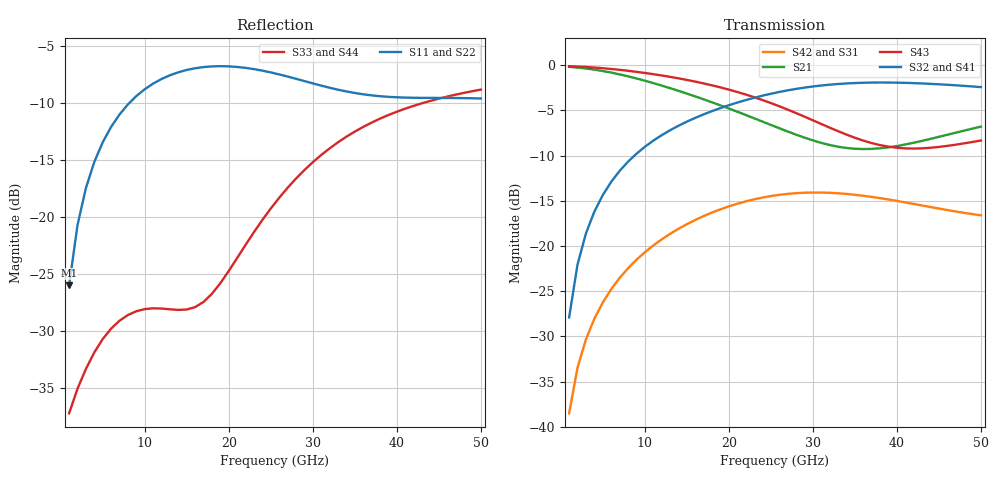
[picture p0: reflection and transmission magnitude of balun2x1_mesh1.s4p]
! Created with skrf 2.2.0 (http://scikit-rf.org).
# GHz S DB R 50.0
! Port[1] = P1
! Port[2] = P2
! Port[3] = P3
! Port[4] = P4
!freq dBS11 angS11 dBS12 angS12 dBS13 angS13
! dBS14 angS14
! dBS21 angS21 dBS22 angS22 dBS23 angS23
! dBS24 angS24
! dBS31 angS31 dBS32 angS32 dBS33 angS33
! dBS34 angS34
! dBS41 angS41 dBS42 angS42 dBS43 angS43
! dBS44 angS44
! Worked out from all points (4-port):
!   50 points, 1 GHz to 50 GHz, reference 50 ohm
!   strongest paths, dB at 1 GHz, 13 GHz, 26 GHz, 38 GHz, 50 GHz:
!     S32: -27.9, -7.2, -3.0, -1.9, -2.4
!     S41: -27.9, -7.2, -3.0, -2.0, -2.5
!     S43: -0.1, -1.3, -4.5, -8.8, -8.3
!     S21: -0.2, -2.5, -7.0, -9.2, -6.8
!     S42: -38.5, -18.7, -14.4, -14.7, -16.6
!     S31: -38.5, -18.7, -14.5, -14.9, -16.8
!   lowest |S11| = -26.0 dB at 1 GHz (marker M1), VSWR 1.11, Z = 52 + j4.72 ohm
!   |S11| at or under -10 dB: start of sweep to 8.129 GHz
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1  -25.99 64.6  -0.19 -5.3  -38.52 -109.6  -27.91 84.2
   -0.19 -5.3  -25.99 64.5  -27.91 84.2  -38.51 -109.6
   -38.52 -109.6  -27.91 84.2  -37.24 25.1  -0.12 -2.6
   -27.91 84.2  -38.51 -109.6  -0.12 -2.6  -37.24 25.1
4  -15.15 62.4  -0.50 -19.7  -28.07 -133.1  -16.21 73.5
   -0.50 -19.7  -15.15 62.2  -16.22 73.5  -28.06 -133.4
   -28.07 -133.1  -16.22 73.5  -31.89 31.6  -0.27 -9.6
   -16.21 73.5  -28.06 -133.4  -0.27 -9.6  -31.88 31.5
9  -9.37 40.9  -1.47 -42.5  -21.56 -173.7  -9.81 56.0
   -1.47 -42.5  -9.37 40.5  -9.81 56.0  -21.54 -174.2
   -21.56 -173.7  -9.81 56.0  -28.27 5.7  -0.74 -20.7
   -9.81 56.0  -21.54 -174.2  -0.74 -20.7  -28.27 5.4
17  -6.82 9.7  -3.78 -77.4  -16.76 128.4  -5.46 31.9
    -3.78 -77.4  -6.84 9.0  -5.45 31.9  -16.70 127.5
    -16.76 128.4  -5.45 31.9  -27.45 -85.3  -2.02 -36.7
    -5.46 31.9  -16.70 127.5  -2.02 -36.7  -27.32 -86.3
28  -7.85 -18.6  -7.69 -136.3  -14.30 63.1  -2.65 0.8
    -7.69 -136.3  -7.98 -20.0  -2.63 0.7  -14.17 61.6
    -14.30 63.1  -2.63 0.7  -16.62 168.9  -5.30 -52.7
    -2.65 0.8  -14.17 61.6  -5.30 -52.7  -16.44 168.7
37  -9.30 -25.6  -9.27 158.8  -14.77 22.9  -1.96 -24.0
    -9.27 158.8  -9.59 -26.8  -1.93 -24.3  -14.58 20.6
    -14.77 22.9  -1.93 -24.3  -11.70 126.7  -8.62 -47.8
    -1.96 -24.0  -14.58 20.6  -8.62 -47.8  -11.54 126.4
50  -9.58 -35.4  -6.81 89.8  -16.78 -8.5  -2.47 -53.6
    -6.81 89.8  -9.91 -35.8  -2.43 -54.1  -16.61 -12.6
    -16.78 -8.5  -2.43 -54.1  -8.79 89.0  -8.34 -29.7
    -2.47 -53.6  -16.61 -12.6  -8.34 -29.7  -8.64 88.4
